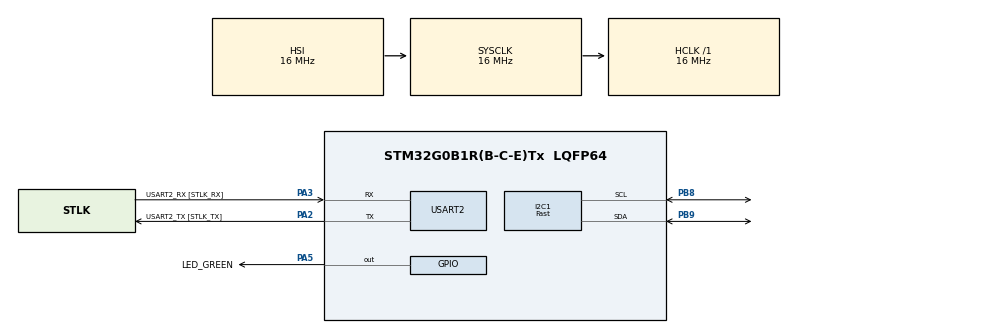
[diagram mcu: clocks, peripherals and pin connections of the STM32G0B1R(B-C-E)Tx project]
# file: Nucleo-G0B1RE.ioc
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I2C1.I2C_Speed_Mode=I2C_Fast
I2C1.Timing=0x0010061A
Mcu.Family=STM32G0
Mcu.Name=STM32G0B1R(B-C-E)Tx
Mcu.Package=LQFP64
NVIC.TIM2_IRQn=true\:0\:0\:false\:false\:true\:true\:true\:true
NVIC.TIM3_TIM4_IRQn=true\:0\:0\:false\:false\:true\:true\:true\:true
PA13.GPIO_Label=TMS
PA13.Mode=Serial_Wire
PA13.Signal=SYS_SWDIO
PA14-BOOT0.GPIO_Label=TCK
PA14-BOOT0.Mode=Serial_Wire
PA14-BOOT0.Signal=SYS_SWCLK
PA2.GPIO_Label=USART2_TX [STLK_TX]
PA2.Mode=Asynchronous
PA2.Signal=USART2_TX
PA3.GPIO_Label=USART2_RX [STLK_RX]
PA3.Mode=Asynchronous
PA3.Signal=USART2_RX
PA5.GPIO_Label=LED_GREEN
PA5.GPIO_Speed=GPIO_SPEED_FREQ_HIGH
PA5.Signal=GPIO_Output
PB8.Mode=I2C
PB8.Signal=I2C1_SCL
PB9.Mode=I2C
PB9.Signal=I2C1_SDA
PC13.Mode=SYS_WakeUp1
PC13.Signal=SYS_WKUP2
PC14-OSC32_IN\ (PC14).Mode=LSE-External-Oscillator
PC14-OSC32_IN\ (PC14).Signal=RCC_OSC32_IN
PC15-OSC32_OUT\ (PC15).Mode=LSE-External-Oscillator
PC15-OSC32_OUT\ (PC15).Signal=RCC_OSC32_OUT
PF0-OSC_IN\ (PF0).GPIO_Label=MCO
PF0-OSC_IN\ (PF0).Mode=HSE-External-Clock-Source
PF0-OSC_IN\ (PF0).Signal=RCC_OSC_IN
ProjectManager.HeapSize=0x200
ProjectManager.StackSize=0x400
ProjectManager.TargetToolchain=STM32CubeIDE
RCC.AHBFreq_Value=16000000
RCC.CortexFreq_Value=16000000
RCC.EXTERNAL_CLOCK_VALUE=12288000
RCC.HCLKFreq_Value=16000000
RCC.HSE_VALUE=8000000
RCC.HSI48_VALUE=48000000
RCC.HSI_VALUE=16000000
RCC.SYSCLKFreq_VALUE=16000000
RCC.USBFreq_Value=48000000
RCC.VCOOutputFreq_Value=128000000
TIM2.Prescaler=9000
TIM3.Period=400
TIM3.Prescaler=9000
USART2.VirtualMode-Asynchronous=VM_ASYNC
VP_TIM2_VS_ClockSourceINT.Mode=Internal
VP_TIM3_VS_ClockSourceINT.Mode=Internal
board=NUCLEO-G0B1RE

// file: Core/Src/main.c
/* USER CODE BEGIN Header */
/**
  ******************************************************************************
  * @file           : main.c
  * @brief          : Main program body
  ******************************************************************************
  * @attention
  *
  * <h2><center>&copy; Copyright (c) 2021 STMicroelectronics.
  * All rights reserved.</center></h2>
  *
  * This software component is licensed by ST under SLA0094 license,
  * the "License"; You may not use this file except in compliance with the
  * License. You may obtain a copy of the License at:
  *                        https://www.st.com/SLA0094
  *
  ******************************************************************************
  */
/* USER CODE END Header */
#include "main.h"

/* USER CODE BEGIN Includes */
#include <callbacks.h>
#include <stdbool.h>
#include "led12a1.h"
#include <bridge.h>
#include <callbacks.h>
#include <stdbool.h>
//#include "led1202.h"
/* USER CODE END Includes */

/* USER CODE BEGIN PM */
//#define GUI_MODE           /*Define it for running it in GUI MODE*/
#define MAX_CH_CURRENT ((uint8_t)20)    /*In Mili Ampere*/
//#define ACTUAL_CH_CURRENT ((uint8_t)0)
/* USER CODE END PM */

I2C_HandleTypeDef hi2c1;

TIM_HandleTypeDef htim2;
TIM_HandleTypeDef htim3;

UART_HandleTypeDef huart2;

/* USER CODE BEGIN PV */
uint8_t GuiMode = 0;
uint8_t DevAddrArray[10];
uint8_t NumOfDev = 0;
extern  uint8_t bridge_IN_buffer[];
extern  uint8_t bridge_OUT_buffer[];
static void MX_USART2_UART_Init(void);
extern volatile uint8_t command_triggered;
extern   LED1202_Object_TypeDef LED1202Obj;
/* USER CODE END PV */

void SystemClock_Config(void);
static void MX_GPIO_Init(void);
static void MX_USART2_UART_Init(void);
static void MX_TIM2_Init(void);
static void MX_TIM3_Init(void);
static void MX_I2C1_Init(void);

int main(void)
{
  /* USER CODE BEGIN 1 */
#ifndef GUI_MODE
  uint16_t  digCurrReg = 0;
  uint8_t dev = 0;
  uint8_t color = 0;
  uint8_t cnt;
#endif
  /* USER CODE END 1 */

  /* MCU Configuration--------------------------------------------------------*/

  /* Reset of all peripherals, Initializes the Flash interface and the Systick. */
  HAL_Init();

  /* Configure the system clock */
  SystemClock_Config();

  /* Initialize all configured peripherals */
  MX_GPIO_Init();
  MX_USART2_UART_Init();
  MX_TIM2_Init();
  MX_TIM3_Init();
  MX_I2C1_Init();
  /* USER CODE BEGIN 2 */
  __HAL_TIM_CLEAR_IT(&htim2,TIM_SR_UIF);
  __HAL_TIM_CLEAR_IT(&htim3,TIM_SR_UIF);

  /*Wait Time assuring a properly steady state condition */
  HAL_Delay(100);

  interface_mode = UART_MODE;	/*Set a known condition */

  /*Clear Buffer*/
  ClearBuffers();

  /*LED12A1 Initialization*/
  LED12A1_Init();

  /*Scan for Number of available LED1202 ICs*/
  NumOfDev =  LED12A1_ScanAvailDevice( &LED1202Obj ,DevAddrArray);
#ifdef GUI_MODE
  HAL_UART_Receive_IT(&huart2,&bridge_OUT_buffer[0],64);
#else
  /*Enable available LED1202 ICs*/
  for (uint8_t dev = 0;dev<NumOfDev;dev++)
  {
    LED12A1_DeviceEnable(&LED1202Obj , (TypedefEnumDevAddr)(LED_DEVICE1 + dev));
    LED12A1_ChannelDisable( &LED1202Obj , LED_CHANNEL_ALL , (TypedefEnumDevAddr)( LED_DEVICE1 + dev));
  }
#endif

  uint16_t ACTUAL_CH_CURRENT = 0;
  int8_t direction = 1; // 1 for increasing, -1 for decreasing
  TypeDefChannel colors[] = {LED_CHANNEL_0, LED_CHANNEL_1, LED_CHANNEL_2,LED_CHANNEL_3, LED_CHANNEL_4,LED_CHANNEL_5, LED_CHANNEL_6,LED_CHANNEL_7, LED_CHANNEL_8,LED_CHANNEL_9, LED_CHANNEL_10,LED_CHANNEL_11};

 uint16_t convertRGBto16Bit(uint8_t red, uint8_t green, uint8_t blue) {
        uint16_t red16 = (uint16_t)(red / 8) << 11;
        uint16_t green16 = (uint16_t)(green / 4) << 5;
        uint16_t blue16 = (uint16_t)(blue / 8);
        return red16 | green16 | blue16;
      }

 int i = 0;
 int k = 0;

#define MAX_BRIGHTNESS 255 // Define the maximum brightness level
#define BRIGHTNESS_STEP 5 // Define the step size for each brightness level change
#define DELAY_MS 20 // Define the delay between each brightness step (in milliseconds)

 void setBrightness(uint8_t brightness)
 {
     // Iterate through all devices and channels

     for (uint8_t dev = 0; dev < NumOfDev; dev++)
     {
         for (uint8_t channel = 0; channel <= 11; channel += 3)
         {
             // Calculate the analog dimming value based on the brightness level
             uint8_t analogValue = (brightness * MAX_CH_CURRENT) / MAX_BRIGHTNESS;

             // Enable the channel and set the analog dimming value
             LED12A1_ChannelEnable(&LED1202Obj, (TypeDefChannel)(colors[0] << channel), (TypedefEnumDevAddr)(LED_DEVICE1 + dev));
             LED12A1_AnalogDimming(&LED1202Obj, analogValue, channel, (TypedefEnumDevAddr)(LED_DEVICE1 + dev));
         }
     }
 }

 void colorWaterfall() {
	 // cervena 0, zelena 1, modra 2

	 for (dev = 0;dev<NumOfDev;dev++)
	         {
	           LED12A1_ChannelDisable( &LED1202Obj , LED_CHANNEL_ALL , (TypedefEnumDevAddr)( LED_DEVICE1 + dev));
	         }
	         HAL_Delay(10);

	     for (int i = 0; i<3;i++){

	    	 for (dev = 0;dev<NumOfDev;dev++)
	    	 	         {
	    	 	           for (uint8_t channel = 0;channel<=11;channel+=3)
	    	 	           {
	    	 	             LED12A1_ChannelEnable( &LED1202Obj , (TypeDefChannel)(colors[i]<<channel),  (TypedefEnumDevAddr)(LED_DEVICE1+dev));

	    	 	             LED12A1_AnalogDimming( &LED1202Obj , MAX_CH_CURRENT, channel, (TypedefEnumDevAddr)(LED_DEVICE1+dev));
	    	 	             //HAL_Delay(200);

	    	 	           }

	    	 	         }

	    	 	         HAL_Delay(500);
	    	 	         LED12A1_ChannelDisable( &LED1202Obj , LED_CHANNEL_ALL , (TypedefEnumDevAddr)( LED_DEVICE_ALL));

	         for (dev = 0;dev<NumOfDev;dev++)
	         {
	           for (uint8_t channel = 0;channel<=11;channel+=3)
	           {
	             LED12A1_ChannelEnable( &LED1202Obj , (TypeDefChannel)(colors[i]),  (TypedefEnumDevAddr)(LED_DEVICE1+dev));
	             //HAL_Delay(200);
	             LED12A1_ChannelEnable( &LED1202Obj , (TypeDefChannel)(colors[i+3]),  (TypedefEnumDevAddr)(LED_DEVICE1+dev));
	             //HAL_Delay(200);
	             LED12A1_ChannelEnable( &LED1202Obj , (TypeDefChannel)(colors[i+6]),  (TypedefEnumDevAddr)(LED_DEVICE1+dev));
	             //HAL_Delay(200);
	             LED12A1_ChannelEnable( &LED1202Obj , (TypeDefChannel)(colors[i+9]),  (TypedefEnumDevAddr)(LED_DEVICE1+dev));
	             HAL_Delay(20);
	             LED12A1_AnalogDimming( &LED1202Obj , MAX_CH_CURRENT, channel, (TypedefEnumDevAddr)(LED_DEVICE1+dev));

	           }
	         }
	         for (dev = 0;dev<NumOfDev;dev++)
	                 {
	                   for (uint8_t channel = 0;channel<=11;channel+=3)
	                   {
	                     LED12A1_ChannelDisable( &LED1202Obj , (TypeDefChannel)(colors[i]),  (TypedefEnumDevAddr)(LED_DEVICE1+dev));
	                     //HAL_Delay(200);
	                     LED12A1_ChannelDisable( &LED1202Obj , (TypeDefChannel)(colors[i+3]),  (TypedefEnumDevAddr)(LED_DEVICE1+dev));
	                     //HAL_Delay(200);
	                     LED12A1_ChannelDisable( &LED1202Obj , (TypeDefChannel)(colors[i+6]),  (TypedefEnumDevAddr)(LED_DEVICE1+dev));
	                     //HAL_Delay(200);
	                     LED12A1_ChannelDisable( &LED1202Obj , (TypeDefChannel)(colors[i+9]),  (TypedefEnumDevAddr)(LED_DEVICE1+dev));
	                     HAL_Delay(20);
	                     LED12A1_AnalogDimming( &LED1202Obj , MAX_CH_CURRENT, channel, (TypedefEnumDevAddr)(LED_DEVICE1+dev));

	                   }
	                 }
	         HAL_Delay(50);
	         }

 }

 void allWhite(){
	 for (dev = 0;dev<NumOfDev;dev++)
	         {
	           LED12A1_ChannelDisable( &LED1202Obj , LED_CHANNEL_ALL , (TypedefEnumDevAddr)( LED_DEVICE1 + dev));
	         }
	         HAL_Delay(300);
	         for (dev = 0;dev<NumOfDev;dev++)
	         {
	           for (uint8_t channel = 0;channel<=11;channel++)
	           {
	             LED12A1_ChannelEnable( &LED1202Obj , (TypeDefChannel)(LED_CHANNEL_0<<channel),  (TypedefEnumDevAddr)(LED_DEVICE1+dev));
	             LED12A1_AnalogDimming( &LED1202Obj , MAX_CH_CURRENT, channel, (TypedefEnumDevAddr)(LED_DEVICE1+dev));
	           }
	         }
	         HAL_Delay(300);

 }

 void scrollThemColors() {

	 for (dev = 0;dev<NumOfDev;dev++)
	         {
	           LED12A1_ChannelDisable( &LED1202Obj , LED_CHANNEL_ALL , (TypedefEnumDevAddr)( LED_DEVICE1 + dev));
	         }
	         HAL_Delay(10);

	        for (int i = 0; i < 3; i++) {

	         for (dev = 0;dev<NumOfDev;dev++)
	         {
	           for (uint8_t channel = 0;channel<=11;channel+=3)
	           {
	             LED12A1_ChannelEnable( &LED1202Obj , (TypeDefChannel)(colors[i]<<channel),  (TypedefEnumDevAddr)(LED_DEVICE1+dev));

	             LED12A1_AnalogDimming( &LED1202Obj , MAX_CH_CURRENT, channel, (TypedefEnumDevAddr)(LED_DEVICE1+dev));
	             //HAL_Delay(200);

	           }

	         }

	         HAL_Delay(500);
	         LED12A1_ChannelDisable( &LED1202Obj , LED_CHANNEL_ALL , (TypedefEnumDevAddr)( LED_DEVICE_ALL));

	        }

 }

 void policeLights(){

	 for (dev = 0;dev<NumOfDev;dev++)
	         {
	           LED12A1_ChannelDisable( &LED1202Obj , LED_CHANNEL_ALL , (TypedefEnumDevAddr)( LED_DEVICE1 + dev));
	         }
	         HAL_Delay(10);

	         for (int i = 0; i < 3; i+=2) {
	        	 for (k = 0; k<5;k++) {
	                 for (dev = 0;dev<NumOfDev;dev++)
	                 {
	                   for (uint8_t channel = 0;channel<=11;channel+=3)
	                   {
	                     LED12A1_ChannelEnable( &LED1202Obj , (TypeDefChannel)(colors[i]<<channel),  (TypedefEnumDevAddr)(LED_DEVICE1+dev));

	                     LED12A1_AnalogDimming( &LED1202Obj , MAX_CH_CURRENT, channel, (TypedefEnumDevAddr)(LED_DEVICE1+dev));
	                   }

	                 }
	                 HAL_Delay(60);
	                     LED12A1_ChannelDisable( &LED1202Obj , LED_CHANNEL_ALL , (TypedefEnumDevAddr)( LED_DEVICE_ALL));
	                 }

	                 HAL_Delay(500);
	                 LED12A1_ChannelDisable( &LED1202Obj , LED_CHANNEL_ALL , (TypedefEnumDevAddr)( LED_DEVICE_ALL));

	                }

 }

 void oneByOne(){
	 for (dev = 0;dev<NumOfDev;dev++)
	         {
	           LED12A1_ChannelDisable( &LED1202Obj , LED_CHANNEL_ALL , (TypedefEnumDevAddr)( LED_DEVICE1 + dev));
	         }

	     	for (uint8_t channel = 0; channel <= 11; channel++)

	     	       {
	     	         for (dev = 0; dev < NumOfDev; dev++)
	     	         {
	     	        	 digCurrReg =  4095;
	     	        	         LED12A1_ChannelEnable( &LED1202Obj , (TypeDefChannel)(LED_CHANNEL_0<<channel),  (TypedefEnumDevAddr)(LED_DEVICE1+dev));
	     	        	         LED12A1_AnalogDimming( &LED1202Obj , MAX_CH_CURRENT, channel,  (TypedefEnumDevAddr)(LED_DEVICE1+dev));
	     	        	         LED12A1_DigitalDimming( &LED1202Obj ,&digCurrReg,channel,0,  (TypedefEnumDevAddr)(LED_DEVICE1+dev));
	     	        	         HAL_Delay(100);
	     	        	         LED12A1_ChannelDisable( &LED1202Obj , (TypeDefChannel)(LED_CHANNEL_0<<channel),  (TypedefEnumDevAddr)(LED_DEVICE1+dev));

	     	         }
	     	       }
 }

 void topDownSwing(){
	 for (int i=0; i<3; i++){
	      for (dev = 0;dev<NumOfDev;dev++)
	      {
	        for (uint8_t channel = 0;channel<=11;channel+=3)
	        {
	          digCurrReg =  4095;
	          LED12A1_ChannelEnable( &LED1202Obj , (TypeDefChannel)(colors[i]<<channel),  (TypedefEnumDevAddr)(LED_DEVICE1+dev));
	          LED12A1_AnalogDimming( &LED1202Obj , MAX_CH_CURRENT, channel,  (TypedefEnumDevAddr)(LED_DEVICE1+dev));
	          LED12A1_DigitalDimming( &LED1202Obj ,&digCurrReg,channel,0,  (TypedefEnumDevAddr)(LED_DEVICE1+dev));
	        }
	        HAL_Delay(100);
	        LED12A1_ChannelDisable( &LED1202Obj , (TypeDefChannel)(LED_CHANNEL_ALL),  (TypedefEnumDevAddr)(LED_DEVICE1+dev));
	      }
	      for (dev = NumOfDev-1;dev>0;dev-- )
	                     {
	                       for (uint8_t channel = 0;channel<=11;channel+=3)
	                       {
	                         digCurrReg =  4095;
	                         LED12A1_ChannelEnable( &LED1202Obj , (TypeDefChannel)(colors[i]<<channel),  (TypedefEnumDevAddr)(LED_DEVICE1+dev));
	                         LED12A1_AnalogDimming( &LED1202Obj , MAX_CH_CURRENT, channel,  (TypedefEnumDevAddr)(LED_DEVICE1+dev));
	                         LED12A1_DigitalDimming( &LED1202Obj ,&digCurrReg,channel,0,  (TypedefEnumDevAddr)(LED_DEVICE1+dev));
	                       }
	                       HAL_Delay(100);
	                       LED12A1_ChannelDisable( &LED1202Obj , (TypeDefChannel)(LED_CHANNEL_ALL),  (TypedefEnumDevAddr)(LED_DEVICE1+dev));
	                     }

	 }
 }

 void demoPresentation () {

	 colorWaterfall();

	 allWhite();

	 scrollThemColors();

	 oneByOne();

	 topDownSwing();

	 for (int i=0;i<3;i++){
	 	    	 policeLights();
	 	     }

 }

 	 uint8_t brightness = 0;
	 bool increasing = true;

     bool call911now = false;
     bool start_dimming = false;
     bool demoMode = false;

  /* USER CODE END 2 */

  /* Infinite loop */
  while (1)
  {

    /* USER CODE BEGIN 3 */
#ifdef GUI_MODE
    WaitForCommand();
#else

    /*** toto tu strieda RGB farby po jednotlivych led po riadkoch alebo po stlpcoch podla toho ktory for ide prvy ***/

    	/*** Turn ALL leds ON ***/

/*** po riadkoch to ide hore dole AJ TO MNENI FARBYYYYY ***/

//colorWaterfall();

    /*** Whole GRID meni farby | channel numbers | Red = 0, Green = 1, Blue = 2 ***/

/*
for (dev = 0;dev<NumOfDev;dev++)
        {
          LED12A1_ChannelDisable( &LED1202Obj , LED_CHANNEL_ALL , (TypedefEnumDevAddr)( LED_DEVICE1 + dev));
        }
        HAL_Delay(10);

       for (int i = 0; i < 3; i++) {

        for (dev = 0;dev<NumOfDev;dev++)
        {
          for (uint8_t channel = 0;channel<=11;channel+=3)
          {
            LED12A1_ChannelEnable( &LED1202Obj , (TypeDefChannel)(colors[i]<<channel),  (TypedefEnumDevAddr)(LED_DEVICE1+dev));

            LED12A1_AnalogDimming( &LED1202Obj , MAX_CH_CURRENT, channel, (TypedefEnumDevAddr)(LED_DEVICE1+dev));
            //HAL_Delay(200);

          }

        }

        HAL_Delay(500);
        LED12A1_ChannelDisable( &LED1202Obj , LED_CHANNEL_ALL , (TypedefEnumDevAddr)( LED_DEVICE_ALL));

       }
}
*/

  /*** chaos ***/

 if (call911now) {

	  policeLights();
	  HAL_Delay(150);
  }

 //allWhite();

 if (demoMode) {
	 demoPresentation();
 }

 setBrightness(brightness);
 	               HAL_Delay(DELAY_MS);

 	               if (increasing)
 	                       {
 	                           brightness += BRIGHTNESS_STEP;
 	                           if (brightness >= MAX_BRIGHTNESS)
 	                           {
 	                               increasing = false;
 	                           }
 	                       }
 	                       else
 	                       {
 	                           brightness -= BRIGHTNESS_STEP;
 	                           if (brightness == 0)
 	                           {
 	                               increasing = true;
 	                           }
 	                      }

 /*** top - down ***/

    /*** Turn ON LED one by one ****/
/*
    for (dev = 0;dev<NumOfDev;dev++)
    {
      LED12A1_ChannelDisable( &LED1202Obj , LED_CHANNEL_ALL , (TypedefEnumDevAddr)( LED_DEVICE1 + dev));
    }

    for (dev = 0;dev<NumOfDev;dev++)
    {
      for (uint8_t channel = 0;channel<=11;channel++)
      {
        digCurrReg =  4095;
        LED12A1_ChannelEnable( &LED1202Obj , (TypeDefChannel)(LED_CHANNEL_0<<channel),  (TypedefEnumDevAddr)(LED_DEVICE1+dev));
        LED12A1_AnalogDimming( &LED1202Obj , MAX_CH_CURRENT, channel,  (TypedefEnumDevAddr)(LED_DEVICE1+dev));
        LED12A1_DigitalDimming( &LED1202Obj ,&digCurrReg,channel,0,  (TypedefEnumDevAddr)(LED_DEVICE1+dev));
        HAL_Delay(500);
        LED12A1_ChannelDisable( &LED1202Obj , (TypeDefChannel)(LED_CHANNEL_0<<channel),  (TypedefEnumDevAddr)(LED_DEVICE1+dev));
      }

      HAL_Delay(500);
    }

    for(cnt = 0;cnt<4;cnt++)
    {
*/
    /*** Turn ON/OFF All LED at once in Toggling Mode ****/
/*
    for (dev = 0;dev<NumOfDev;dev++)
    {
      LED12A1_ChannelDisable( &LED1202Obj , LED_CHANNEL_ALL , (TypedefEnumDevAddr)( LED_DEVICE1 + dev));
    }
    HAL_Delay(300);
    for (dev = 0;dev<NumOfDev;dev++)
    {
      for (uint8_t channel = 0;channel<=11;channel++)
      {
        LED12A1_ChannelEnable( &LED1202Obj , (TypeDefChannel)(LED_CHANNEL_0<<channel),  (TypedefEnumDevAddr)(LED_DEVICE1+dev));
        LED12A1_AnalogDimming( &LED1202Obj , MAX_CH_CURRENT, channel,  (TypedefEnumDevAddr)(LED_DEVICE1+dev));
      }
    }
    HAL_Delay(300);
    }
*/
    /*** Start LED from minimum intensity to maximum intensity one by one ****/
    /*
    for (dev = 0;dev<NumOfDev;dev++)
    {
      LED12A1_ChannelDisable( &LED1202Obj , LED_CHANNEL_ALL , (TypedefEnumDevAddr)( LED_DEVICE1 + dev));
    }

    for (dev = 0;dev<NumOfDev;dev++)
    {
      for (uint8_t channel = 0;channel<=11;channel++)
      {
        LED12A1_ChannelEnable( &LED1202Obj , (TypeDefChannel)(LED_CHANNEL_0<<channel),  (TypedefEnumDevAddr)(LED_DEVICE1+dev));
        LED12A1_AnalogDimming( &LED1202Obj , MAX_CH_CURRENT, channel,  (TypedefEnumDevAddr)(LED_DEVICE1+dev));
        for(uint8_t cnt = 0;cnt<10;cnt++)
        {
          digCurrReg =  400*cnt;
          LED12A1_DigitalDimming( &LED1202Obj ,&digCurrReg,channel,0,  (TypedefEnumDevAddr)(LED_DEVICE1+dev));
          HAL_Delay(100);
        }
      }

      HAL_Delay(300);
    }
  */
#endif
  }
  /* USER CODE END 3 */
}

void SystemClock_Config(void)
{
  RCC_OscInitTypeDef RCC_OscInitStruct = {0};
  RCC_ClkInitTypeDef RCC_ClkInitStruct = {0};

  /** Configure the main internal regulator output voltage
  */
  HAL_PWREx_ControlVoltageScaling(PWR_REGULATOR_VOLTAGE_SCALE1);

  /** Initializes the RCC Oscillators according to the specified parameters
  * in the RCC_OscInitTypeDef structure.
  */
  RCC_OscInitStruct.OscillatorType = RCC_OSCILLATORTYPE_HSI;
  RCC_OscInitStruct.HSIState = RCC_HSI_ON;
  RCC_OscInitStruct.HSIDiv = RCC_HSI_DIV1;
  RCC_OscInitStruct.HSICalibrationValue = RCC_HSICALIBRATION_DEFAULT;
  RCC_OscInitStruct.PLL.PLLState = RCC_PLL_NONE;
  if (HAL_RCC_OscConfig(&RCC_OscInitStruct) != HAL_OK)
  {
    Error_Handler();
  }

  /** Initializes the CPU, AHB and APB buses clocks
  */
  RCC_ClkInitStruct.ClockType = RCC_CLOCKTYPE_HCLK|RCC_CLOCKTYPE_SYSCLK
                              |RCC_CLOCKTYPE_PCLK1;
  RCC_ClkInitStruct.SYSCLKSource = RCC_SYSCLKSOURCE_HSI;
  RCC_ClkInitStruct.AHBCLKDivider = RCC_SYSCLK_DIV1;
  RCC_ClkInitStruct.APB1CLKDivider = RCC_HCLK_DIV1;

  if (HAL_RCC_ClockConfig(&RCC_ClkInitStruct, FLASH_LATENCY_0) != HAL_OK)
  {
    Error_Handler();
  }
}

static void MX_I2C1_Init(void)
{

  hi2c1.Instance = I2C1;
  hi2c1.Init.Timing = 0x0010061A;
  hi2c1.Init.OwnAddress1 = 0;
  hi2c1.Init.AddressingMode = I2C_ADDRESSINGMODE_7BIT;
  hi2c1.Init.DualAddressMode = I2C_DUALADDRESS_DISABLE;
  hi2c1.Init.OwnAddress2 = 0;
  hi2c1.Init.OwnAddress2Masks = I2C_OA2_NOMASK;
  hi2c1.Init.GeneralCallMode = I2C_GENERALCALL_DISABLE;
  hi2c1.Init.NoStretchMode = I2C_NOSTRETCH_DISABLE;
  if (HAL_I2C_Init(&hi2c1) != HAL_OK)
  {
    Error_Handler();
  }

  /** Configure Analogue filter
  */
  if (HAL_I2CEx_ConfigAnalogFilter(&hi2c1, I2C_ANALOGFILTER_ENABLE) != HAL_OK)
  {
    Error_Handler();
  }

  /** Configure Digital filter
  */
  if (HAL_I2CEx_ConfigDigitalFilter(&hi2c1, 0) != HAL_OK)
  {
    Error_Handler();
  }

}

static void MX_TIM2_Init(void)
{

  TIM_ClockConfigTypeDef sClockSourceConfig = {0};
  TIM_MasterConfigTypeDef sMasterConfig = {0};

  htim2.Instance = TIM2;
  htim2.Init.Prescaler = 9000;
  htim2.Init.CounterMode = TIM_COUNTERMODE_UP;
  htim2.Init.Period = 4294967295;
  htim2.Init.ClockDivision = TIM_CLOCKDIVISION_DIV1;
  htim2.Init.AutoReloadPreload = TIM_AUTORELOAD_PRELOAD_DISABLE;
  if (HAL_TIM_Base_Init(&htim2) != HAL_OK)
  {
    Error_Handler();
  }
  sClockSourceConfig.ClockSource = TIM_CLOCKSOURCE_INTERNAL;
  if (HAL_TIM_ConfigClockSource(&htim2, &sClockSourceConfig) != HAL_OK)
  {
    Error_Handler();
  }
  sMasterConfig.MasterOutputTrigger = TIM_TRGO_RESET;
  sMasterConfig.MasterSlaveMode = TIM_MASTERSLAVEMODE_DISABLE;
  if (HAL_TIMEx_MasterConfigSynchronization(&htim2, &sMasterConfig) != HAL_OK)
  {
    Error_Handler();
  }

}

static void MX_TIM3_Init(void)
{

  TIM_ClockConfigTypeDef sClockSourceConfig = {0};
  TIM_MasterConfigTypeDef sMasterConfig = {0};

  htim3.Instance = TIM3;
  htim3.Init.Prescaler = 9000;
  htim3.Init.CounterMode = TIM_COUNTERMODE_UP;
  htim3.Init.Period = 400;
  htim3.Init.ClockDivision = TIM_CLOCKDIVISION_DIV1;
  htim3.Init.AutoReloadPreload = TIM_AUTORELOAD_PRELOAD_DISABLE;
  if (HAL_TIM_Base_Init(&htim3) != HAL_OK)
  {
    Error_Handler();
  }
  sClockSourceConfig.ClockSource = TIM_CLOCKSOURCE_INTERNAL;
  if (HAL_TIM_ConfigClockSource(&htim3, &sClockSourceConfig) != HAL_OK)
  {
    Error_Handler();
  }
  sMasterConfig.MasterOutputTrigger = TIM_TRGO_RESET;
  sMasterConfig.MasterSlaveMode = TIM_MASTERSLAVEMODE_DISABLE;
  if (HAL_TIMEx_MasterConfigSynchronization(&htim3, &sMasterConfig) != HAL_OK)
  {
    Error_Handler();
  }

}

static void MX_USART2_UART_Init(void)
{

  huart2.Instance = USART2;
  huart2.Init.BaudRate = 115200;
  huart2.Init.WordLength = UART_WORDLENGTH_8B;
  huart2.Init.StopBits = UART_STOPBITS_1;
  huart2.Init.Parity = UART_PARITY_NONE;
  huart2.Init.Mode = UART_MODE_TX_RX;
  huart2.Init.HwFlowCtl = UART_HWCONTROL_NONE;
  huart2.Init.OverSampling = UART_OVERSAMPLING_16;
  huart2.Init.OneBitSampling = UART_ONE_BIT_SAMPLE_DISABLE;
  huart2.Init.ClockPrescaler = UART_PRESCALER_DIV1;
  huart2.AdvancedInit.AdvFeatureInit = UART_ADVFEATURE_NO_INIT;
  if (HAL_UART_Init(&huart2) != HAL_OK)
  {
    Error_Handler();
  }
  if (HAL_UARTEx_SetTxFifoThreshold(&huart2, UART_TXFIFO_THRESHOLD_1_8) != HAL_OK)
  {
    Error_Handler();
  }
  if (HAL_UARTEx_SetRxFifoThreshold(&huart2, UART_RXFIFO_THRESHOLD_1_8) != HAL_OK)
  {
    Error_Handler();
  }
  if (HAL_UARTEx_DisableFifoMode(&huart2) != HAL_OK)
  {
    Error_Handler();
  }

}

static void MX_GPIO_Init(void)
{
  GPIO_InitTypeDef GPIO_InitStruct = {0};

  /* GPIO Ports Clock Enable */
  __HAL_RCC_GPIOC_CLK_ENABLE();
  __HAL_RCC_GPIOF_CLK_ENABLE();
  __HAL_RCC_GPIOA_CLK_ENABLE();
  __HAL_RCC_GPIOB_CLK_ENABLE();

  /*Configure GPIO pin Output Level */
  HAL_GPIO_WritePin(LED_GREEN_GPIO_Port, LED_GREEN_Pin, GPIO_PIN_RESET);

  /*Configure GPIO pin : LED_GREEN_Pin */
  GPIO_InitStruct.Pin = LED_GREEN_Pin;
  GPIO_InitStruct.Mode = GPIO_MODE_OUTPUT_PP;
  GPIO_InitStruct.Pull = GPIO_NOPULL;
  GPIO_InitStruct.Speed = GPIO_SPEED_FREQ_HIGH;
  HAL_GPIO_Init(LED_GREEN_GPIO_Port, &GPIO_InitStruct);

}

void Error_Handler(void)
{
  __disable_irq();
  while (1)
  {
  }
}
